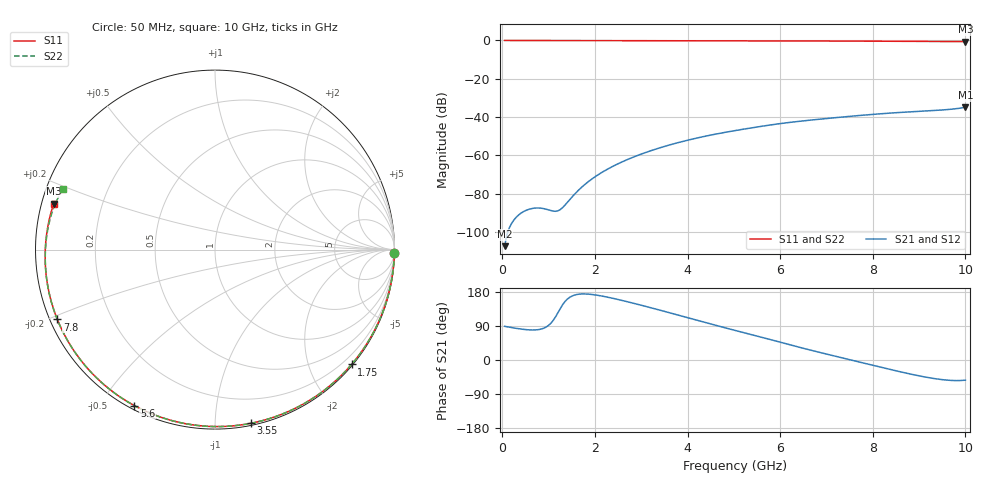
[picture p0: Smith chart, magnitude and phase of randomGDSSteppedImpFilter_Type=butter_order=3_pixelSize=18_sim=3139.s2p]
! freq	dB(S11)	phase(S11)	dB(S12)	phase(S12)
!  dB(S21)	phase(S21)	dB(S22)	phase(S22)
!S-par simulation data
#  GHz  S  DB  R 50
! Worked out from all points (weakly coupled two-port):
!   200 points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, 50 MHz to 10 GHz, reference 50 ohm
!   highest |S21| = -34.84 dB at 10 GHz (marker M1); lowest = -107.3 dB at 50 MHz (marker M2)
!   lowest |S11| = -0.6 dB at 10 GHz (marker M3), VSWR 29.43, Z = 1.73 + j6.99 ohm
!   |S11| at or under -10 dB: nowhere
!   |S22| runs from -0.8 to 0.0 dB; largest |S21 - S12| = 0
!   S11 on the Smith chart (normalised r, x): 50 MHz: 0, -97; 1.75 GHz: 0.02, -2.74; 3.55 GHz: 0.01, -1.23; 5.6 GHz: 0.01, -0.61; 7.8 GHz: 0.02, -0.21; 10 GHz: 0.03, +0.14
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0.05  -0.00 -1.2  -107.35 88.9  -107.35 88.9  -0.00 -1.2
0.4  -0.01 -9.3  -90.18 81.7  -90.18 81.7  -0.01 -9.4
0.8  -0.02 -18.6  -87.44 80.6  -87.44 80.6  -0.02 -18.6
1.55  -0.04 -35.6  -80.50 170.9  -80.50 170.9  -0.04 -35.8
1.6  -0.05 -36.7  -79.23 172.6  -79.23 172.6  -0.05 -36.9
1.75  -0.05 -40.1  -75.82 174.4  -75.82 174.4  -0.05 -40.2
2.05  -0.06 -46.7  -70.38 170.9  -70.38 170.9  -0.06 -46.9
2.45  -0.07 -55.4  -64.92 161.1  -64.92 161.1  -0.07 -55.6
2.9  -0.08 -64.9  -60.20 147.7  -60.20 147.7  -0.08 -65.1
3.4  -0.10 -75.2  -56.04 131.7  -56.04 131.7  -0.10 -75.5
3.55  -0.10 -78.2  -54.95 126.8  -54.95 126.8  -0.10 -78.5
4.3  -0.13 -93.0  -50.39 101.8  -50.39 101.8  -0.13 -93.4
5.05  -0.16 -107.2  -46.93 77.3  -46.93 77.3  -0.16 -107.6
5.6  -0.19 -117.3  -44.79 60.0  -44.79 60.0  -0.19 -117.8
6.7  -0.26 -136.9  -41.45 24.7  -41.45 24.7  -0.26 -137.5
7.25  -0.30 -146.5  -40.15 8.2  -40.15 8.2  -0.30 -147.3
7.8  -0.35 -156.1  -38.97 -8.0  -38.97 -8.0  -0.35 -157.1
8.35  -0.40 -165.8  -37.94 -24.2  -37.94 -24.2  -0.41 -167.0
8.85  -0.45 -174.7  -37.19 -38.1  -37.19 -38.1  -0.47 -176.3
9.3  -0.50 177.2  -36.59 -48.5  -36.59 -48.5  -0.54 174.9
9.7  -0.55 169.7  -35.87 -53.9  -35.87 -53.9  -0.63 166.1
10  -0.59 164.1  -34.84 -53.2  -34.84 -53.2  -0.83 158.2
